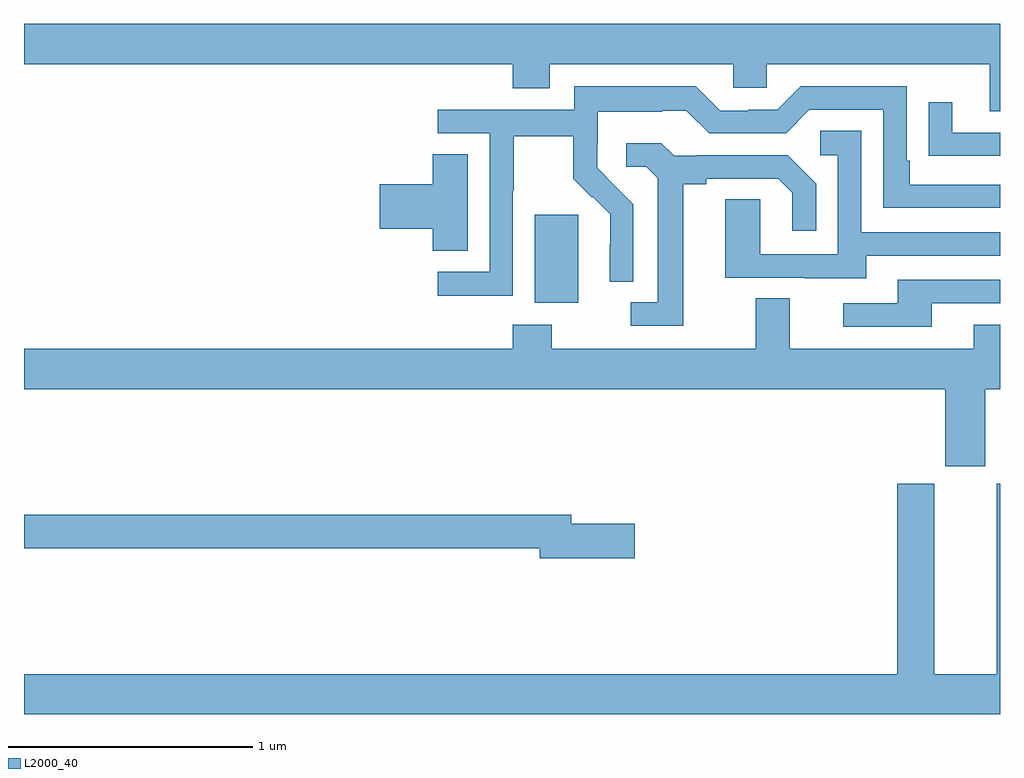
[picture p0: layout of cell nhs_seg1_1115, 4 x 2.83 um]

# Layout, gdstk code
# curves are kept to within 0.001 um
import gdstk
lib = gdstk.Library(unit=1e-6, precision=1e-09)
def R(c, l, rs):  # rectangles x0, y0, x1, y1
    for r in rs: c.add(gdstk.rectangle(r[:2], r[2:], *l))
def P(c, l, *ps):  # polygons
    for p in ps: c.add(gdstk.Polygon(p, *l))
L2000_40 = (2000, 40)

nhs_seg1_1115 = lib.new_cell('nhs_seg1_1115')
R(nhs_seg1_1115, L2000_40, [(173.093,556.082,173.272,556.443)])
P(nhs_seg1_1115, L2000_40, [(175,557.224),(171,557.224),(171,557.06),(173.003,557.06),(173.003,556.961),(173.155,556.961),(173.155,557.06),(173.907,557.06),(173.907,556.962),(174.045,556.962),(174.045,557.06),(174.959,557.06),(174.959,556.866),(175,556.866)],
  [(173.004,556.54),(173.007,556.54),(173.007,556.764),(173.251,556.764),(173.251,556.589),(173.328,556.512),(173.331,556.515),(173.402,556.445),(173.402,556.322),(173.4,556.322),(173.4,556.168),(173.496,556.168),(173.496,556.486),(173.35,556.634),(173.35,556.731),(173.352,556.731),(173.352,556.865),(173.615,556.865),(173.615,556.869),(173.715,556.869),(173.808,556.776),(174.123,556.776),(174.219,556.872),(174.522,556.872),(174.522,556.47),(175,556.47),(175,556.566),(174.631,556.566),(174.631,556.663),(174.618,556.663),(174.618,556.968),(174.183,556.968),(174.087,556.872),(173.969,556.872),(173.969,556.869),(173.853,556.869),(173.753,556.969),(173.256,556.969),(173.256,556.872),(172.695,556.872),(172.695,556.776),(172.908,556.776),(172.908,556.209),(172.695,556.209),(172.695,556.111),(173.004,556.111)],
  [(175,556.779),(174.805,556.779),(174.805,556.903),(174.709,556.903),(174.709,556.684),(174.811,556.684),(174.811,556.683),(175,556.683)],
  [(174.451,556.275),(175,556.275),(175,556.371),(174.432,556.371),(174.432,556.787),(174.264,556.787),(174.264,556.686),(174.336,556.686),(174.336,556.281),(174.018,556.281),(174.018,556.505),(173.873,556.505),(173.873,556.185),(174.197,556.185),(174.197,556.181),(174.451,556.181)],
  [(173.701,556.568),(173.797,556.568),(173.797,556.59),(174.092,556.59),(174.149,556.533),(174.149,556.377),(174.246,556.377),(174.246,556.57),(174.13,556.686),(173.758,556.686),(173.758,556.683),(173.664,556.683),(173.612,556.735),(173.469,556.735),(173.469,556.638),(173.55,556.638),(173.597,556.591),(173.597,556.083),(173.487,556.083),(173.487,555.987),(173.701,555.987)],
  [(172.819,556.691),(172.676,556.691),(172.676,556.568),(172.458,556.568),(172.458,556.385),(172.676,556.385),(172.676,556.294),(172.819,556.294)],
  [(174.721,556.08),(175,556.08),(175,556.176),(174.581,556.176),(174.581,556.08),(174.357,556.08),(174.357,555.984),(174.721,555.984)],
  [(174.94,555.728),(175,555.728),(175,555.991),(174.893,555.991),(174.893,555.892),(174.139,555.892),(174.139,556.1),(173.999,556.1),(173.999,555.892),(173.163,555.892),(173.163,555.991),(173.003,555.991),(173.003,555.892),(171,555.892),(171,555.728),(174.776,555.728),(174.776,555.411),(174.94,555.411)],
  [(175,555.339),(174.986,555.339),(174.986,554.56),(174.73,554.56),(174.73,555.339),(174.578,555.339),(174.578,554.56),(171,554.56),(171,554.396),(175,554.396)],
  [(173.503,555.176),(173.242,555.176),(173.242,555.212),(171,555.212),(171,555.076),(173.114,555.076),(173.114,555.034),(173.503,555.034)])

lib.write_gds('nhs_seg1_1115.gds')
